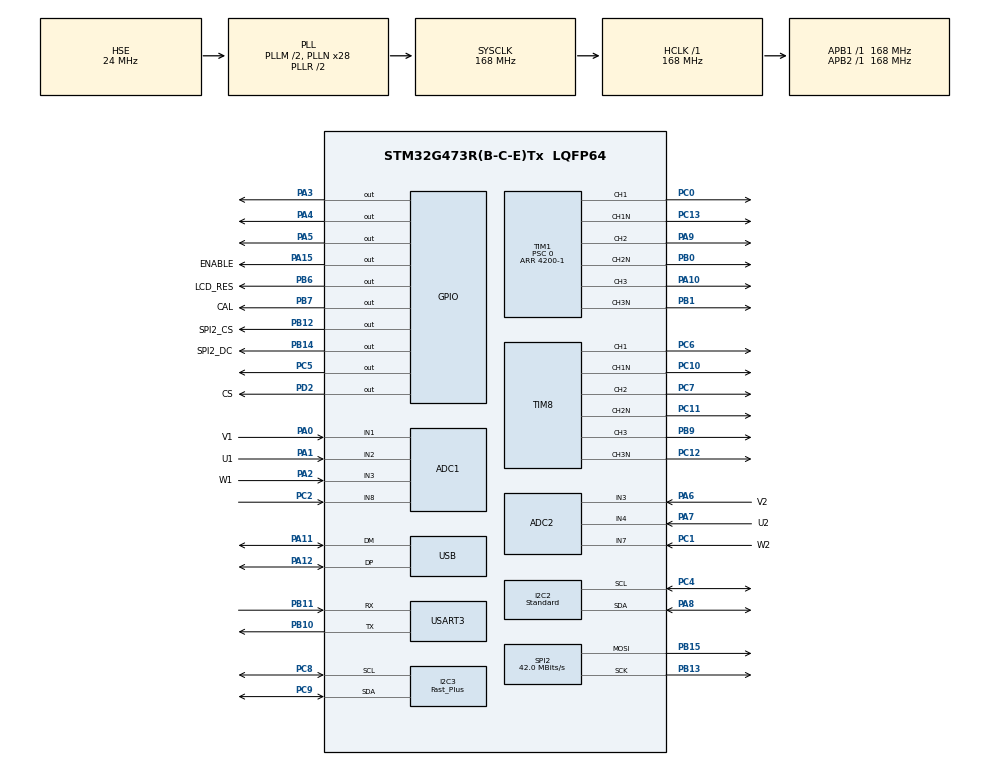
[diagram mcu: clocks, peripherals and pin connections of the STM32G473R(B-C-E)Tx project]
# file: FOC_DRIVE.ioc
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ADC1.Channel-0\#ChannelRegularConversion=ADC_CHANNEL_1
ADC1.Channel-1\#ChannelRegularConversion=ADC_CHANNEL_2
ADC1.Channel-2\#ChannelRegularConversion=ADC_CHANNEL_3
ADC1.Channel-3\#ChannelRegularConversion=ADC_CHANNEL_8
ADC1.ClockPrescaler=ADC_CLOCK_ASYNC_DIV16
ADC1.ContinuousConvMode=ENABLE
ADC1.DMAContinuousRequests=ENABLE
ADC1.EOCSelection=ADC_EOC_SEQ_CONV
ADC1.EnableInjectedConversion=DISABLE
ADC1.ExternalTrigConv=ADC_EXTERNALTRIG_T1_TRGO
ADC1.ExternalTrigConvEdge=ADC_EXTERNALTRIGCONVEDGE_RISING
ADC1.NbrOfConversion=4
ADC1.NbrOfConversionFlag=1
ADC1.OffsetNumber-0\#ChannelRegularConversion=ADC_OFFSET_NONE
ADC1.OffsetNumber-1\#ChannelRegularConversion=ADC_OFFSET_NONE
ADC1.OffsetNumber-2\#ChannelRegularConversion=ADC_OFFSET_NONE
ADC1.OffsetNumber-3\#ChannelRegularConversion=ADC_OFFSET_NONE
ADC1.OversamplingMode=DISABLE
ADC1.Rank-0\#ChannelRegularConversion=1
ADC1.Rank-1\#ChannelRegularConversion=2
ADC1.Rank-2\#ChannelRegularConversion=3
ADC1.Rank-3\#ChannelRegularConversion=4
ADC1.SamplingTime-0\#ChannelRegularConversion=ADC_SAMPLETIME_92CYCLES_5
ADC1.SamplingTime-1\#ChannelRegularConversion=ADC_SAMPLETIME_92CYCLES_5
ADC1.SamplingTime-2\#ChannelRegularConversion=ADC_SAMPLETIME_92CYCLES_5
ADC1.SamplingTime-3\#ChannelRegularConversion=ADC_SAMPLETIME_247CYCLES_5
ADC1.master=1
ADC2.Channel-0\#ChannelRegularConversion=ADC_CHANNEL_3
ADC2.ClockPrescaler=ADC_CLOCK_ASYNC_DIV16
ADC2.NbrOfConversionFlag=1
ADC2.OffsetNumber-0\#ChannelRegularConversion=ADC_OFFSET_NONE
ADC2.Rank-0\#ChannelRegularConversion=1
ADC2.SamplingTime-0\#ChannelRegularConversion=ADC_SAMPLETIME_2CYCLES_5
Dma.ADC1.0.Direction=DMA_PERIPH_TO_MEMORY
Dma.ADC1.0.EventEnable=DISABLE
Dma.ADC1.0.Instance=DMA1_Channel1
Dma.ADC1.0.MemDataAlignment=DMA_MDATAALIGN_HALFWORD
Dma.ADC1.0.MemInc=DMA_MINC_ENABLE
Dma.ADC1.0.Mode=DMA_CIRCULAR
Dma.ADC1.0.PeriphDataAlignment=DMA_PDATAALIGN_HALFWORD
Dma.ADC1.0.PeriphInc=DMA_PINC_DISABLE
Dma.ADC1.0.Polarity=HAL_DMAMUX_REQ_GEN_RISING
Dma.ADC1.0.Priority=DMA_PRIORITY_VERY_HIGH
Dma.ADC1.0.RequestNumber=1
Dma.ADC1.0.SignalID=NONE
Dma.ADC1.0.SyncEnable=DISABLE
Dma.ADC1.0.SyncPolarity=HAL_DMAMUX_SYNC_NO_EVENT
Dma.ADC1.0.SyncRequestNumber=1
Dma.ADC1.0.SyncSignalID=NONE
Dma.I2C3_RX.1.Direction=DMA_PERIPH_TO_MEMORY
Dma.I2C3_RX.1.EventEnable=DISABLE
Dma.I2C3_RX.1.Instance=DMA1_Channel2
Dma.I2C3_RX.1.MemDataAlignment=DMA_MDATAALIGN_BYTE
Dma.I2C3_RX.1.MemInc=DMA_MINC_ENABLE
Dma.I2C3_RX.1.Mode=DMA_NORMAL
Dma.I2C3_RX.1.PeriphDataAlignment=DMA_PDATAALIGN_BYTE
Dma.I2C3_RX.1.PeriphInc=DMA_PINC_DISABLE
Dma.I2C3_RX.1.Polarity=HAL_DMAMUX_REQ_GEN_RISING
Dma.I2C3_RX.1.Priority=DMA_PRIORITY_MEDIUM
Dma.I2C3_RX.1.RequestNumber=1
Dma.I2C3_RX.1.SignalID=NONE
Dma.I2C3_RX.1.SyncEnable=DISABLE
Dma.I2C3_RX.1.SyncPolarity=HAL_DMAMUX_SYNC_NO_EVENT
Dma.I2C3_RX.1.SyncRequestNumber=1
Dma.I2C3_RX.1.SyncSignalID=NONE
Dma.I2C3_TX.2.Direction=DMA_MEMORY_TO_PERIPH
Dma.I2C3_TX.2.EventEnable=DISABLE
Dma.I2C3_TX.2.Instance=DMA1_Channel3
Dma.I2C3_TX.2.MemDataAlignment=DMA_MDATAALIGN_BYTE
Dma.I2C3_TX.2.MemInc=DMA_MINC_ENABLE
Dma.I2C3_TX.2.Mode=DMA_NORMAL
Dma.I2C3_TX.2.PeriphDataAlignment=DMA_PDATAALIGN_BYTE
Dma.I2C3_TX.2.PeriphInc=DMA_PINC_DISABLE
Dma.I2C3_TX.2.Polarity=HAL_DMAMUX_REQ_GEN_RISING
Dma.I2C3_TX.2.Priority=DMA_PRIORITY_MEDIUM
Dma.I2C3_TX.2.RequestNumber=1
Dma.I2C3_TX.2.SignalID=NONE
Dma.I2C3_TX.2.SyncEnable=DISABLE
Dma.I2C3_TX.2.SyncPolarity=HAL_DMAMUX_SYNC_NO_EVENT
Dma.I2C3_TX.2.SyncRequestNumber=1
Dma.I2C3_TX.2.SyncSignalID=NONE
Dma.Request0=ADC1
Dma.Request1=I2C3_RX
Dma.Request2=I2C3_TX
FREERTOS.Queues01=VOFA,16,SVPWM,0,Dynamic,NULL,NULL
FREERTOS.Tasks01=TouchGFX,24,4000,TouchGFX_Task,As weak,NULL,Dynamic,NULL,NULL;FOC,40,2000,FOC_Task,As weak,NULL,Dynamic,NULL,NULL;DATA,16,1280,DATA_Task,As weak,NULL,Dynamic,NULL,NULL
FREERTOS.configENABLE_FPU=1
FREERTOS.configTOTAL_HEAP_SIZE=35000
I2C2.I2C_Speed_Mode=I2C_Standard
I2C2.Timing=0x50916E9F
I2C3.I2C_Speed_Mode=I2C_Fast_Plus
I2C3.Timing=0x10C31027
Mcu.Family=STM32G4
Mcu.Name=STM32G473R(B-C-E)Tx
Mcu.Package=LQFP64
NVIC.DMA1_Channel1_IRQn=true\:6\:0\:true\:false\:true\:true\:false\:true\:true
NVIC.DMA1_Channel2_IRQn=true\:5\:0\:false\:false\:true\:true\:false\:true\:true
NVIC.DMA1_Channel3_IRQn=true\:5\:0\:false\:false\:true\:true\:false\:true\:true
NVIC.I2C3_EV_IRQn=true\:5\:0\:false\:false\:true\:true\:true\:true\:true
NVIC.PriorityGroup=NVIC_PRIORITYGROUP_4
NVIC.SPI2_IRQn=true\:6\:0\:true\:false\:true\:true\:true\:true\:true
NVIC.TIM1_BRK_TIM15_IRQn=true\:5\:0\:false\:false\:true\:true\:false\:true\:true
NVIC.TIM1_UP_TIM16_IRQn=true\:5\:0\:false\:false\:true\:true\:true\:true\:true
NVIC.TIM20_UP_IRQn=true\:0\:0\:true\:false\:true\:false\:false\:true\:true
NVIC.TIM2_IRQn=true\:5\:0\:true\:false\:true\:true\:true\:true\:true
NVIC.TIM3_IRQn=true\:5\:0\:true\:false\:true\:true\:true\:true\:true
NVIC.TIM4_IRQn=true\:5\:0\:true\:false\:true\:true\:true\:true\:true
NVIC.TimeBase=TIM20_UP_IRQn
NVIC.TimeBaseIP=TIM20
NVIC.USB_HP_IRQn=true\:5\:0\:false\:false\:true\:true\:true\:true\:true
NVIC.USB_LP_IRQn=true\:5\:0\:false\:false\:true\:true\:false\:true\:true
PA0.GPIO_Label=V1
PA0.Mode=IN1-Single-Ended
PA0.Signal=ADC1_IN1
PA1.GPIO_Label=U1
PA1.Mode=IN2-Single-Ended
PA1.Signal=ADC1_IN2
PA10.GPIO_Speed=GPIO_SPEED_FREQ_VERY_HIGH
PA10.Signal=S_TIM1_CH3
PA11.Mode=Device
PA11.Signal=USB_DM
PA12.Mode=Device
PA12.Signal=USB_DP
PA13.Mode=Serial_Wire
PA13.Signal=SYS_JTMS-SWDIO
PA14.Mode=Serial_Wire
PA14.Signal=SYS_JTCK-SWCLK
PA15.GPIO_Label=ENABLE
PA15.GPIO_Speed=GPIO_SPEED_FREQ_MEDIUM
PA15.PinState=GPIO_PIN_RESET
PA15.Signal=GPIO_Output
PA2.GPIO_Label=W1
PA2.Mode=IN3-Single-Ended
PA2.Signal=ADC1_IN3
PA3.Signal=GPIO_Output
PA4.Signal=GPIO_Output
PA5.Signal=GPIO_Output
PA6.GPIO_Label=V2
PA6.Mode=IN3-Single-Ended
PA6.Signal=ADC2_IN3
PA7.GPIO_Label=U2
PA7.Mode=IN4-Single-Ended
PA7.Signal=ADC2_IN4
PA8.Mode=I2C
PA8.Signal=I2C2_SDA
PA9.GPIO_Speed=GPIO_SPEED_FREQ_VERY_HIGH
PA9.Signal=S_TIM1_CH2
PB0.GPIO_Speed=GPIO_SPEED_FREQ_VERY_HIGH
PB0.Mode=PWM Generation2 CH2 CH2N
PB0.Signal=TIM1_CH2N
PB1.GPIO_Speed=GPIO_SPEED_FREQ_VERY_HIGH
PB1.Mode=PWM Generation3 CH3 CH3N
PB1.Signal=TIM1_CH3N
PB10.Mode=Asynchronous
PB10.Signal=USART3_TX
PB11.Mode=Asynchronous
PB11.Signal=USART3_RX
PB12.GPIO_Label=SPI2_CS
PB12.Signal=GPIO_Output
PB13.GPIO_Speed=GPIO_SPEED_FREQ_VERY_HIGH
PB13.Mode=TX_Only_Simplex_Unidirect_Master
PB13.Signal=SPI2_SCK
PB14.GPIO_Label=SPI2_DC
PB14.GPIO_Speed=GPIO_SPEED_FREQ_VERY_HIGH
PB14.Signal=GPIO_Output
PB15.GPIO_Speed=GPIO_SPEED_FREQ_VERY_HIGH
PB15.Mode=TX_Only_Simplex_Unidirect_Master
PB15.Signal=SPI2_MOSI
PB6.GPIO_Label=LCD_RES
PB6.GPIO_Speed=GPIO_SPEED_FREQ_VERY_HIGH
PB6.Signal=GPIO_Output
PB7.GPIO_Label=CAL
PB7.Signal=GPIO_Output
PB9.Signal=S_TIM8_CH3
PC0.GPIO_Speed=GPIO_SPEED_FREQ_VERY_HIGH
PC0.Signal=S_TIM1_CH1
PC1.GPIO_Label=W2
PC1.Mode=IN7-Single-Ended
PC1.Signal=ADC2_IN7
PC10.Mode=PWM Generation1 CH1 CH1N
PC10.Signal=TIM8_CH1N
PC11.Mode=PWM Generation2 CH2 CH2N
PC11.Signal=TIM8_CH2N
PC12.Mode=PWM Generation3 CH3 CH3N
PC12.Signal=TIM8_CH3N
PC13.GPIO_Speed=GPIO_SPEED_FREQ_LOW
PC13.Mode=PWM Generation1 CH1 CH1N
PC13.Signal=TIM1_CH1N
PC2.Mode=IN8-Single-Ended
PC2.Signal=ADC1_IN8
PC4.Mode=I2C
PC4.Signal=I2C2_SCL
PC5.GPIO_ModeDefaultOutputPP=GPIO_MODE_OUTPUT_PP
PC5.GPIO_PuPd=GPIO_NOPULL
PC5.PinState=GPIO_PIN_RESET
PC5.Signal=GPIO_Output
PC6.Signal=S_TIM8_CH1
PC7.Signal=S_TIM8_CH2
PC8.GPIO_Speed=GPIO_SPEED_FREQ_VERY_HIGH
PC8.Mode=I2C
PC8.Signal=I2C3_SCL
PC9.GPIO_Speed=GPIO_SPEED_FREQ_VERY_HIGH
PC9.Mode=I2C
PC9.Signal=I2C3_SDA
PD2.GPIO_Label=CS
PD2.Signal=GPIO_Output
PF0-OSC_IN.Mode=HSE-External-Oscillator
PF0-OSC_IN.Signal=RCC_OSC_IN
PF1-OSC_OUT.Mode=HSE-External-Oscillator
PF1-OSC_OUT.Signal=RCC_OSC_OUT
ProjectManager.HeapSize=0x800
ProjectManager.StackSize=0x1000
ProjectManager.TargetToolchain=CMake
RCC.ADC12Freq_Value=168000000
RCC.ADC345Freq_Value=168000000
RCC.AHBFreq_Value=168000000
RCC.APB1Freq_Value=168000000
RCC.APB1TimFreq_Value=168000000
RCC.APB2Freq_Value=168000000
RCC.APB2TimFreq_Value=168000000
RCC.CK48CLockSelection=RCC_USBCLKSOURCE_HSI48
RCC.CortexFreq_Value=168000000
RCC.EXTERNAL_CLOCK_VALUE=12288000
RCC.HCLKFreq_Value=168000000
RCC.HSE_VALUE=24000000
RCC.HSI48_VALUE=48000000
RCC.HSI_VALUE=16000000
RCC.LSE_VALUE=32768
RCC.PLLM=RCC_PLLM_DIV2
RCC.PLLN=28
RCC.PLLQ=RCC_PLLQ_DIV6
RCC.PLLSourceVirtual=RCC_PLLSOURCE_HSE
RCC.SYSCLKFreq_VALUE=168000000
RCC.SYSCLKSource=RCC_SYSCLKSOURCE_PLLCLK
RCC.USBFreq_Value=48000000
RCC.VCOOutputFreq_Value=336000000
SH.S_TIM1_CH1.0=TIM1_CH1,PWM Generation1 CH1 CH1N
SH.S_TIM1_CH2.0=TIM1_CH2,PWM Generation2 CH2 CH2N
SH.S_TIM1_CH3.0=TIM1_CH3,PWM Generation3 CH3 CH3N
SH.S_TIM8_CH1.0=TIM8_CH1,PWM Generation1 CH1 CH1N
SH.S_TIM8_CH2.0=TIM8_CH2,PWM Generation2 CH2 CH2N
SH.S_TIM8_CH3.0=TIM8_CH3,PWM Generation3 CH3 CH3N
SPI2.BaudRatePrescaler=SPI_BAUDRATEPRESCALER_4
SPI2.CLKPhase=SPI_PHASE_2EDGE
SPI2.CLKPolarity=SPI_POLARITY_HIGH
SPI2.CalculateBaudRate=42.0 MBits/s
SPI2.DataSize=SPI_DATASIZE_8BIT
SPI2.Direction=SPI_DIRECTION_2LINES
SPI2.Mode=SPI_MODE_MASTER
SPI2.VirtualType=VM_MASTER
STMicroelectronics.X-CUBE-ALGOBUILD.1.4.0.LibraryCcDSPOoLibraryJjDSPOoLibrary=true
STMicroelectronics.X-CUBE-AZRTOS-G4.2.0.0_IsAnAzureRtosMw=true
STMicroelectronics.X-CUBE-TOUCHGFX.4.26.1.ApplicationCcGraphicsJjApplication=TouchGFXOoGenerator
STMicroelectronics.X-CUBE-TOUCHGFX.4.26.1.tgfx_block_size=2000
STMicroelectronics.X-CUBE-TOUCHGFX.4.26.1.tgfx_buffering_strategy=Single
STMicroelectronics.X-CUBE-TOUCHGFX.4.26.1.tgfx_custom_height=135
STMicroelectronics.X-CUBE-TOUCHGFX.4.26.1.tgfx_custom_width=240
STMicroelectronics.X-CUBE-TOUCHGFX.4.26.1.tgfx_hardware_accelerator=dma_custom
STMicroelectronics.X-CUBE-TOUCHGFX.4.26.1.tgfx_location=Allocate
STMicroelectronics.X-CUBE-TOUCHGFX.4.26.1.tgfx_pixel_format=RGB565\:16
STMicroelectronics.X-CUBE-TOUCHGFX.4.26.1_IsPackSelfContextualization=true
TIM1.AutoReloadPreload=TIM_AUTORELOAD_PRELOAD_DISABLE
TIM1.AutomaticOutput=TIM_AUTOMATICOUTPUT_ENABLE
TIM1.BreakFilter=2
TIM1.BreakPolarity=TIM_BREAKPOLARITY_LOW
TIM1.BreakState=TIM_BREAK_DISABLE
TIM1.Channel-PWM\ Generation1\ CH1\ CH1N=TIM_CHANNEL_1
TIM1.Channel-PWM\ Generation2\ CH2\ CH2N=TIM_CHANNEL_2
TIM1.Channel-PWM\ Generation3\ CH3\ CH3N=TIM_CHANNEL_3
TIM1.CounterMode=TIM_COUNTERMODE_CENTERALIGNED1
TIM1.DeadTime=1
TIM1.OC1Preload_PWM=DISABLE
TIM1.OC2Preload_PWM=DISABLE
TIM1.OC3Preload_PWM=ENABLE
TIM1.OCFastMode_PWM-PWM\ Generation3\ CH3\ CH3N=TIM_OCFAST_DISABLE
TIM1.OCMode_PWM-PWM\ Generation1\ CH1\ CH1N=TIM_OCMODE_PWM2
TIM1.OCMode_PWM-PWM\ Generation2\ CH2\ CH2N=TIM_OCMODE_PWM2
TIM1.OCMode_PWM-PWM\ Generation3\ CH3\ CH3N=TIM_OCMODE_PWM2
TIM1.OffStateIDLEMode=TIM_OSSI_ENABLE
TIM1.OffStateRunMode=TIM_OSSR_ENABLE
TIM1.PeriodNoDither=4200-1
TIM1.Prescaler=0
TIM1.TIM_MasterOutputTrigger=TIM_TRGO_UPDATE
TIM1.TIM_MasterSlaveMode=TIM_MASTERSLAVEMODE_ENABLE
TIM2.AutoReloadPreload=TIM_AUTORELOAD_PRELOAD_ENABLE
TIM2.Dithering=Disable
TIM2.PeriodNoDither=200-1
TIM2.Prescaler=168-1
TIM3.PeriodNoDither=100-1
TIM3.Prescaler=1680-1
TIM4.AutoReloadPreload=TIM_AUTORELOAD_PRELOAD_ENABLE
TIM4.PeriodNoDither=2000
TIM4.Prescaler=1680-1
TIM8.Channel-PWM\ Generation1\ CH1\ CH1N=TIM_CHANNEL_1
TIM8.Channel-PWM\ Generation2\ CH2\ CH2N=TIM_CHANNEL_2
TIM8.Channel-PWM\ Generation3\ CH3\ CH3N=TIM_CHANNEL_3
USART3.VirtualMode-Asynchronous=VM_ASYNC
USB_DEVICE.CLASS_NAME_FS=CDC
USB_DEVICE.VirtualMode=Cdc
USB_DEVICE.VirtualModeFS=Cdc_FS
VP_CRC_VS_CRC.Mode=CRC_Activate
VP_FREERTOS_VS_CMSIS_V2.Mode=CMSIS_V2
VP_RCC_VS_USB.Mode=USB_FS
VP_STMicroelectronics.X-CUBE-ALGOBUILD_VS_DSPOoLibraryJjLibrary_1.4.0_1.4.0.Mode=DSPOoLibraryJjLibrary
VP_STMicroelectronics.X-CUBE-TOUCHGFX_VS_GraphicsJjApplication_4.26.1.Mode=GraphicsJjApplication
VP_SYS_VS_DBSignals.Mode=DisableDeadBatterySignals
VP_SYS_VS_tim20.Mode=TIM20
VP_TIM1_VS_ClockSourceINT.Mode=Internal
VP_TIM2_VS_ClockSourceINT.Mode=Internal
VP_TIM3_VS_ClockSourceINT.Mode=Internal
VP_TIM4_VS_ClockSourceINT.Mode=Internal
VP_USB_DEVICE_VS_USB_DEVICE_CDC_FS.Mode=CDC_FS
board=custom

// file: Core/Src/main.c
/* USER CODE BEGIN Header */
/**
  ******************************************************************************
  * @file           : main.c
  * @brief          : Main program body
  ******************************************************************************
  * @attention
  *
  * Copyright (c) 2026 STMicroelectronics.
  * All rights reserved.
  *
  * This software is licensed under terms that can be found in the LICENSE file
  * in the root directory of this software component.
  * If no LICENSE file comes with this software, it is provided AS-IS.
  *
  ******************************************************************************
  */
/* USER CODE END Header */
#include "main.h"
#include "cmsis_os.h"
#include "adc.h"
#include "crc.h"
#include "dma.h"
#include "i2c.h"
#include "spi.h"
#include "tim.h"
#include "usart.h"
#include "usb_device.h"
#include "gpio.h"
#include "app_touchgfx.h"

/* USER CODE BEGIN Includes */
#include "FOC_FB.h"
#include "FOC_RUN.h"
#include "LCD_1.14.h"
#include "Main_Freertos.h"
#include "ottohesl.h"
#include "ottohesl_OLED.h"
/* USER CODE END Includes */

void SystemClock_Config(void);
void MX_FREERTOS_Init(void);
/* USER CODE BEGIN PFP */
typedef void (*pFunction)(void);
#define APP_ADDRESS    0x08004000

// void JumpToApplication(void)
// {
//   if (((*(__IO uint32_t*)APP_ADDRESS) & 0x2FFE0000 ) == 0x20000000)
//   {
//     __disable_irq();
//     HAL_DeInit();
//     USB->BCDR = 0;
//
//     SCB->VTOR = APP_ADDRESS;
//     __set_MSP(*(__IO uint32_t*)APP_ADDRESS);
//     pFunction Jump_To_App = (pFunction)(*(__IO uint32_t*)(APP_ADDRESS + 4));
//     Jump_To_App();
//   }
// }

/* USER CODE END PFP */

int main(void)
{

  /* MCU Configuration--------------------------------------------------------*/

  /* Reset of all peripherals, Initializes the Flash interface and the Systick. */
  HAL_Init();

  /* Configure the system clock */
  SystemClock_Config();

  /* Initialize all configured peripherals */
  MX_GPIO_Init();
  MX_DMA_Init();
  MX_ADC1_Init();
  MX_ADC2_Init();
  MX_I2C2_Init();
  MX_TIM1_Init();
  MX_TIM8_Init();
  MX_USART3_UART_Init();
  MX_I2C3_Init();
  MX_CRC_Init();
  MX_TIM4_Init();
  MX_SPI2_Init();
  MX_TIM2_Init();
  MX_TIM3_Init();
  MX_TouchGFX_Init();
  /* Call PreOsInit function */
  MX_TouchGFX_PreOSInit();
  /* USER CODE BEGIN 2 */
  /*****************************使能DRV8323H和校准ADC***********************************/
  HAL_GPIO_WritePin(ENABLE_GPIO_Port, ENABLE_Pin, GPIO_PIN_SET);
  HAL_Delay(50);
  HAL_GPIO_WritePin(CAL_GPIO_Port, CAL_Pin, GPIO_PIN_SET);
  HAL_Delay(50);
  HAL_GPIO_WritePin(CAL_GPIO_Port, CAL_Pin, GPIO_PIN_RESET);
  HAL_Delay(50);
  /*****************************开启ADC读取通道*****************************/
  HAL_ADCEx_Calibration_Start(&hadc1,ADC_SINGLE_ENDED);
  ADC1_DMA_InitStart();//初始化校准电流
  /*****************************LCD初始化**************************************/
  LCD_Init();
  /*****************************开启定时器**************************************/
  HAL_TIM_Base_Start_IT(&htim4);//TouchGFX屏幕刷新
  HAL_TIM_Base_Start_IT(&htim2);//FOC中断执行（10kHZ）
  HAL_TIM_Base_Start_IT(&htim3);//开启as5600的速度计算中断
  HAL_TIM_PWM_Start(&htim1, TIM_CHANNEL_1);
  HAL_TIM_PWM_Start(&htim1, TIM_CHANNEL_2);
  HAL_TIM_PWM_Start(&htim1, TIM_CHANNEL_3);
  // // 互补通道
  HAL_TIMEx_PWMN_Start(&htim1, TIM_CHANNEL_1);
  HAL_TIMEx_PWMN_Start(&htim1, TIM_CHANNEL_2);
  HAL_TIMEx_PWMN_Start(&htim1, TIM_CHANNEL_3);
  /* USER CODE END 2 */

  /* Init scheduler */
  osKernelInitialize();  /* Call init function for freertos objects (in cmsis_os2.c) */
  MX_FREERTOS_Init();

  /* Start scheduler */
  osKernelStart();

  /* We should never get here as control is now taken by the scheduler */

  /* Infinite loop */
  while (1)
  {

  }
}

void SystemClock_Config(void)
{
  RCC_OscInitTypeDef RCC_OscInitStruct = {0};
  RCC_ClkInitTypeDef RCC_ClkInitStruct = {0};
  RCC_CRSInitTypeDef pInit = {0};

  /** Configure the main internal regulator output voltage
  */
  HAL_PWREx_ControlVoltageScaling(PWR_REGULATOR_VOLTAGE_SCALE1_BOOST);

  /** Initializes the RCC Oscillators according to the specified parameters
  * in the RCC_OscInitTypeDef structure.
  */
  RCC_OscInitStruct.OscillatorType = RCC_OSCILLATORTYPE_HSI48|RCC_OSCILLATORTYPE_HSE;
  RCC_OscInitStruct.HSEState = RCC_HSE_ON;
  RCC_OscInitStruct.HSI48State = RCC_HSI48_ON;
  RCC_OscInitStruct.PLL.PLLState = RCC_PLL_ON;
  RCC_OscInitStruct.PLL.PLLSource = RCC_PLLSOURCE_HSE;
  RCC_OscInitStruct.PLL.PLLM = RCC_PLLM_DIV2;
  RCC_OscInitStruct.PLL.PLLN = 28;
  RCC_OscInitStruct.PLL.PLLP = RCC_PLLP_DIV2;
  RCC_OscInitStruct.PLL.PLLQ = RCC_PLLQ_DIV6;
  RCC_OscInitStruct.PLL.PLLR = RCC_PLLR_DIV2;
  if (HAL_RCC_OscConfig(&RCC_OscInitStruct) != HAL_OK)
  {
    Error_Handler();
  }

  /** Initializes the CPU, AHB and APB buses clocks
  */
  RCC_ClkInitStruct.ClockType = RCC_CLOCKTYPE_HCLK|RCC_CLOCKTYPE_SYSCLK
                              |RCC_CLOCKTYPE_PCLK1|RCC_CLOCKTYPE_PCLK2;
  RCC_ClkInitStruct.SYSCLKSource = RCC_SYSCLKSOURCE_PLLCLK;
  RCC_ClkInitStruct.AHBCLKDivider = RCC_SYSCLK_DIV1;
  RCC_ClkInitStruct.APB1CLKDivider = RCC_HCLK_DIV1;
  RCC_ClkInitStruct.APB2CLKDivider = RCC_HCLK_DIV1;

  if (HAL_RCC_ClockConfig(&RCC_ClkInitStruct, FLASH_LATENCY_4) != HAL_OK)
  {
    Error_Handler();
  }

  /** Enable the SYSCFG APB clock
  */
  __HAL_RCC_CRS_CLK_ENABLE();

  /** Configures CRS
  */
  pInit.Prescaler = RCC_CRS_SYNC_DIV1;
  pInit.Source = RCC_CRS_SYNC_SOURCE_USB;
  pInit.Polarity = RCC_CRS_SYNC_POLARITY_RISING;
  pInit.ReloadValue = __HAL_RCC_CRS_RELOADVALUE_CALCULATE(48000000,1000);
  pInit.ErrorLimitValue = 34;
  pInit.HSI48CalibrationValue = 32;

  HAL_RCCEx_CRSConfig(&pInit);
}

/* USER CODE BEGIN 4 */
extern void touchgfxSignalVSync(void);
uint8_t foc_control_time = 0;
/* USER CODE END 4 */

void HAL_TIM_PeriodElapsedCallback(TIM_HandleTypeDef *htim)
{
  if (htim->Instance == TIM20)
  {
    HAL_IncTick();
  }
  /* USER CODE BEGIN Callback 1 */
  if (htim->Instance == TIM4)
  {
    touchgfxSignalVSync();    //启动Touchgfx页面更新（50hz）
  }
  if (htim->Instance == TIM2) {
    if(FocTask_Busy == pdFALSE && FocTask_Control!=NULL)
    {
      BaseType_t xHigherPriorityTaskWoken = pdFALSE;
      vTaskNotifyGiveFromISR(FocTask_Control, &xHigherPriorityTaskWoken);//将当前任务定义为就绪态
      portYIELD_FROM_ISR(xHigherPriorityTaskWoken);//立即触发任务调度，从优先级更高的任务直接运行（无论是否还在其他低优先级任务运行）
    }
  }
  //计算as5600编码器得到的角度以得出实时速度
  if (htim->Instance == TIM3) {
    if (g_Enc_ptr!=NULL) {
      g_Enc_ptr->tim_enc_data.calc_flag =1;         //计算标志位置1
      g_Enc_ptr->tim_enc_data.tim_index = g_Enc_ptr->Enc_Index;     //将缓冲区的索引值传入，索引代表的数字就是当前角度
    }
  }
  /* USER CODE END Callback 1 */
}

void Error_Handler(void)
{
  __disable_irq();
  while (1)
  {
  }
}

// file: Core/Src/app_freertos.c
/* USER CODE BEGIN Header */
/**
  ******************************************************************************
  * File Name          : app_freertos.c
  * Description        : Code for freertos applications
  ******************************************************************************
  * @attention
  *
  * Copyright (c) 2026 STMicroelectronics.
  * All rights reserved.
  *
  * This software is licensed under terms that can be found in the LICENSE file
  * in the root directory of this software component.
  * If no LICENSE file comes with this software, it is provided AS-IS.
  *
  ******************************************************************************
  */
/* USER CODE END Header */

#include "FreeRTOS.h"
#include "task.h"
#include "main.h"
#include "cmsis_os.h"

#include "usb_device.h"

/* USER CODE BEGIN Includes */
#include "FOC_Math.h"
#include "usb_device.h"
/* USER CODE END Includes */

/* Definitions for TouchGFX */
osThreadId_t TouchGFXHandle;
const osThreadAttr_t TouchGFX_attributes = {
  .name = "TouchGFX",
  .priority = (osPriority_t) osPriorityNormal,
  .stack_size = 4000 * 4
};
/* Definitions for FOC */
osThreadId_t FOCHandle;
const osThreadAttr_t FOC_attributes = {
  .name = "FOC",
  .priority = (osPriority_t) osPriorityHigh,
  .stack_size = 2000 * 4
};
/* Definitions for DATA */
osThreadId_t DATAHandle;
const osThreadAttr_t DATA_attributes = {
  .name = "DATA",
  .priority = (osPriority_t) osPriorityBelowNormal,
  .stack_size = 1280 * 4
};
/* Definitions for VOFA */
osMessageQueueId_t VOFAHandle;
const osMessageQueueAttr_t VOFA_attributes = {
  .name = "VOFA"
};

void TouchGFX_Task(void *argument);
void FOC_Task(void *argument);
void DATA_Task(void *argument);

void MX_FREERTOS_Init(void); /* (MISRA C 2004 rule 8.1) */

void MX_FREERTOS_Init(void) {

  /* Create the queue(s) */
  /* creation of VOFA */
  VOFAHandle = osMessageQueueNew (16, sizeof(SVPWM), &VOFA_attributes);

  /* Create the thread(s) */
  /* creation of TouchGFX */
  TouchGFXHandle = osThreadNew(TouchGFX_Task, NULL, &TouchGFX_attributes);

  /* creation of FOC */
  FOCHandle = osThreadNew(FOC_Task, NULL, &FOC_attributes);

  /* creation of DATA */
  DATAHandle = osThreadNew(DATA_Task, NULL, &DATA_attributes);

}

__weak void TouchGFX_Task(void *argument)
{
  /* init code for USB_Device */
  MX_USB_Device_Init();
  for(;;)
  {
    osDelay(1);
  }
}

__weak void FOC_Task(void *argument)
{
  for(;;)
  {
    osDelay(1);
  }
}

__weak void DATA_Task(void *argument)
{
  for(;;)
  {
    osDelay(1);
  }
}
